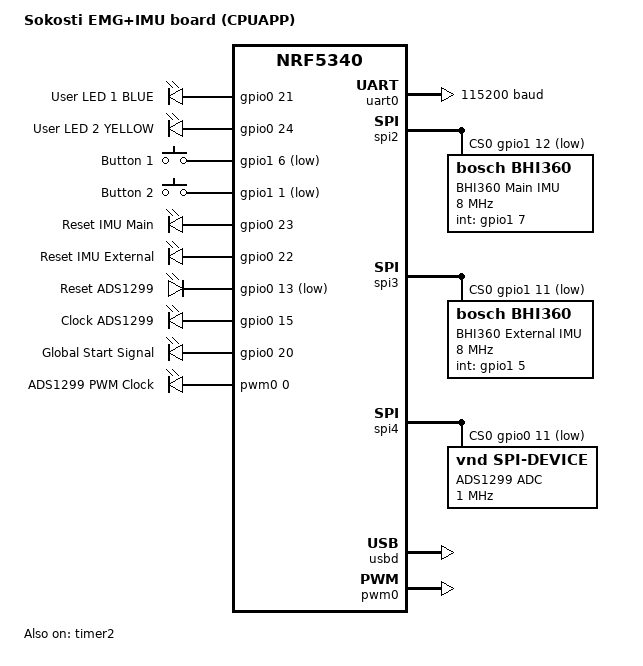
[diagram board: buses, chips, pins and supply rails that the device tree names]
/dts-v1/;

#include <nordic/nrf5340_cpuapp_qkaa.dtsi>
#include "Sokosti_nRF5340-pinctrl.dtsi"
#include <zephyr/dt-bindings/input/input-event-codes.h>

/ {
	model = "Sokosti EMG+IMU board (CPUAPP)";
	compatible = "Nordic,Sokosti-nRF5340-cpuapp";

	chosen {
		zephyr,sram = &sram0_image;
		zephyr,flash = &flash0;
		zephyr,code-partition = &slot0_partition;
		zephyr,sram-secure-partition = &sram0_s;
		zephyr,sram-non-secure-partition = &sram0_ns;
		zephyr,console = &uart0;
		zephyr,usb-device = &usbd;
	};

	aliases {
		led0 = &led0;
		led1 = &led1;
		sw0 = &button0;
		sw1 = &button1;
		adsclk = &ads_clk_pwm;
	};

	leds {
		compatible = "gpio-leds";

		led0: led_0 {
			gpios = <&gpio0 21 GPIO_ACTIVE_HIGH>;
			label = "User LED 1 BLUE";
		};

		led1: led_1 {
			gpios = <&gpio0 24 GPIO_ACTIVE_HIGH>;
			label = "User LED 2 YELLOW";
		};
	};

	buttons {
		compatible = "gpio-keys";

		button0: button_0 {
			gpios = <&gpio1 6 (GPIO_PULL_UP | GPIO_ACTIVE_LOW)>;
			zephyr,code = <INPUT_KEY_0>;
			label = "Button 1";
		};

		button1: button_1 {
			gpios = <&gpio1 1 (GPIO_PULL_UP | GPIO_ACTIVE_LOW)>;
			zephyr,code = <INPUT_KEY_1>;
			label = "Button 2";
		};
	};

	control {
		compatible = "gpio-leds";

		reset_imu_main: reset_imu_main {
			gpios = <&gpio0 23 GPIO_ACTIVE_HIGH>;
			label = "Reset IMU Main";
		};

		reset_imu_ext: reset_imu_ext {
			gpios = <&gpio0 22 GPIO_ACTIVE_HIGH>;
			label = "Reset IMU External";
		};

		reset_ads: reset_ads {
			gpios = <&gpio0 13 GPIO_ACTIVE_LOW>;
			label = "Reset ADS1299";
		};

		clk_ads: clk_ads {
			gpios = <&gpio0 15 GPIO_ACTIVE_HIGH>;
			label = "Clock ADS1299";
		};

		global_start: global_start {
			gpios = <&gpio0 20 GPIO_ACTIVE_HIGH>;
			label = "Global Start Signal";
		};
	};

	pwmleds {
		compatible = "pwm-leds";

		ads_clk_pwm: ads_clk_pwm {
			pwms = <&pwm0 0 PWM_NSEC(488) PWM_POLARITY_NORMAL>;
			label = "ADS1299 PWM Clock";
		};
	};
};

/* Enable GPIO controllers */
&gpio0 {
	status = "okay";
};

&gpio1 {
	status = "okay";
};

&gpiote {
	status = "okay";
};

/* UART0 configuration is disabled because USB CDC ACM is used for the console */
&uart0 {
	status = "okay";
	current-speed = <115200>;
	pinctrl-0 = <&uart0_default>;
	pinctrl-1 = <&uart0_sleep>;
	pinctrl-names = "default", "sleep";
};

&timer2 {
	status = "okay";
};

/* SPI0 configuration (microSD card) */
&spi0 {
	status = "disabled";
	cs-gpios = <&gpio1 10 GPIO_ACTIVE_LOW>;
	pinctrl-0 = <&spi0_default>;
	pinctrl-1 = <&spi0_sleep>;
	pinctrl-names = "default", "sleep";

	sdhc0: sdhc@0 {
		compatible = "zephyr,sdhc-spi-slot";
		reg = <0>;
		status = "okay";
		spi-max-frequency = <25000000>;

		mmc {
			compatible = "zephyr,sdmmc-disk";
			disk-name = "SD";
			status = "okay";
		};
	};
};

/* SPI2 configuration (Main IMU - BHI360) */
&spi2 {
	status = "okay";
	pinctrl-0 = <&spi2_default>;
	pinctrl-1 = <&spi2_sleep>;
	pinctrl-names = "default", "sleep";

	imu_main: imu_main@0 {
		compatible = "bosch,bhi360";
		reg = <0>;
		spi-max-frequency = <8000000>;

		/* Interrupt pin for data ready */
		int-gpios = <&gpio1 7 GPIO_ACTIVE_HIGH>;
		label = "BHI360 Main IMU";
	};

	cs-gpios = <&gpio1 12 GPIO_ACTIVE_LOW>;
};

/* SPI3 configuration (External IMU - BHI360) */
&spi3 {
	status = "okay";
	pinctrl-0 = <&spi3_default>;
	pinctrl-1 = <&spi3_sleep>;
	pinctrl-names = "default", "sleep";

	imu_ext: imu_ext@0 {
		compatible = "bosch,bhi360";
		reg = <0>;
		spi-max-frequency = <8000000>;

		/* Interrupt pin for data ready */
		int-gpios = <&gpio1 5 GPIO_ACTIVE_HIGH>;
		label = "BHI360 External IMU";
	};

	cs-gpios = <&gpio1 11 GPIO_ACTIVE_LOW>;
};

/* SPI4 configuration (ADS1299 ADC) */
&spi4 {
	status = "okay";
	pinctrl-0 = <&spi4_default>;
	pinctrl-1 = <&spi4_sleep>;
	pinctrl-names = "default", "sleep";
	cs-gpios = <&gpio0 11 GPIO_ACTIVE_LOW>;   /* must be on the parent */

	ads1299: ads1299@0 {
		compatible = "vnd,spi-device";        /* generic SPI device */
		reg = <0>;
		spi-max-frequency = <DT_FREQ_M(1)>;
		label = "ADS1299 ADC";
	};
};

/* USB device configuration */
&usbd {
	status = "okay";
};

&pwm0 {
	status = "okay";
	pinctrl-0 = <&pwm0_default>;
	pinctrl-1 = <&pwm0_sleep>;
	pinctrl-names = "default", "sleep";
};
#include "Sokosti_nRF5340-cpuapp_partitioning.dtsi"
#include "Sokosti_nRF5340-shared_sram.dtsi"
